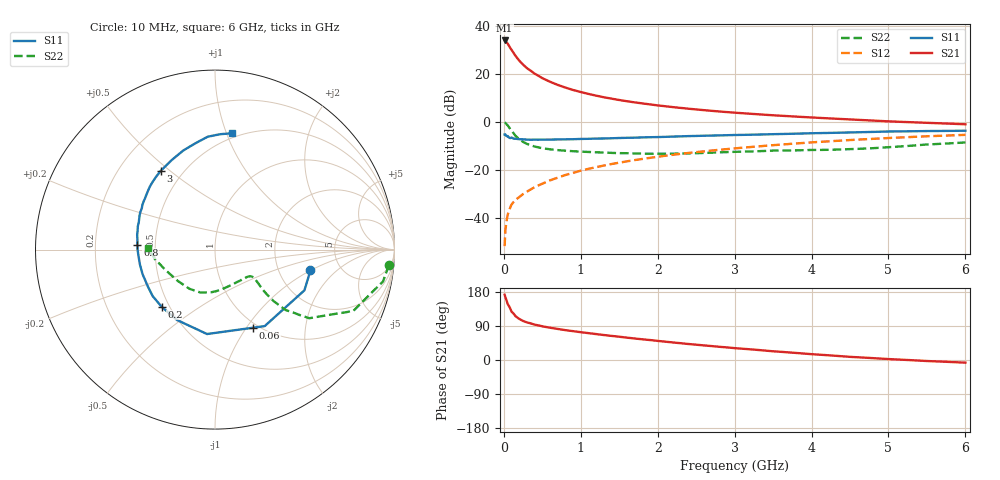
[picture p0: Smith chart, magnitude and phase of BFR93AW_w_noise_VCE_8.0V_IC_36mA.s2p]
! Infineon Technologies  Discrete & RF Semiconductors
! BFR93AW
! VCE =  8.0 V,  IC =  36 mA
! Common Emitter S-Parameters:  Jan 2017
# GHz  S  MA  R  50
!  f  S11  S21  S12  S22
! GHz  MAG  ANG  MAG  ANG  MAG  ANG  MAG  ANG
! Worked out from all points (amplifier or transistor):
!   77 points, 10 MHz to 6 GHz, reference 50 ohm
!   highest |S21| = 33.9 dB at 10 MHz (marker M1)
!   |S21| within 3 dB of that: start of sweep to 81.59 MHz
!   unconditionally stable (mu >= 1): 560.1 MHz to 2.046 GHz
!   at 130 MHz: K = 0.54, MSG = 30.9 dB, |S12| = -33.2 dB
!   at 2.2 GHz: K = 0.99, MSG = 9.9 dB, |S12| = -13.7 dB
!   at 6 GHz: K = 0.87, MSG = 2.2 dB, |S12| = -5.4 dB
!   lowest NFmin = 1.95 dB at 450 MHz
!   S11 on the Smith chart (normalised r, x): 10 MHz: 3.03, -1.00; 60 MHz: 0.95, -1.07; 200 MHz: 0.45, -0.36; 800 MHz: 0.40, +0.03; 3 GHz: 0.38, +0.46; 6 GHz: 0.46, +1.04
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0.01  0.5445 -12.3  49.27 172.3  0.0026 76.5  0.9724 -5.1
0.02  0.5474 -24.5  48.55 165.8  0.0055 78.7  0.953 -10.7
0.05  0.5083 -57.0  42.3 147.7  0.0117 68.3  0.8431 -23.9
0.06  0.4843 -64.0  39.8 144.6  0.0132 66.6  0.8019 -25.9
0.1  0.4725 -95.4  31.39 127.6  0.0191 62.5  0.6492 -36.1
0.15  0.4458 -118.4  23.75 115.9  0.0236 60.1  0.5162 -40.6
0.2  0.4356 -133.1  18.79 108.4  0.0273 60.9  0.4352 -41.3
0.25  0.4333 -143.3  15.49 103.0  0.0315 61.5  0.3834 -40.8
0.3  0.4271 -150.9  13.09 99.2  0.0353 63.6  0.3477 -40.0
0.4  0.4261 -161.4  10.05 93.3  0.0438 65.8  0.3068 -38.0
0.5  0.4264 -168.6  8.11 88.9  0.0517 68.2  0.2832 -36.8
0.6  0.4274 -174.6  6.819 85.2  0.0607 69.2  0.2685 -36.2
0.7  0.4308 -179.3  5.871 82.0  0.0691 70.4  0.2586 -36.0
0.8  0.4335 176.6  5.164 78.8  0.0785 70.7  0.2511 -36.5
1.1  0.4438 166.2  3.809 70.9  0.1056 70.5  0.2366 -39.9
1.5  0.4615 155.6  2.847 61.4  0.1417 68.8  0.2237 -48.1
2.1  0.4881 141.8  2.111 48.4  0.1973 64.8  0.2172 -65.9
3  0.5328 124.6  1.552 31.3  0.2807 57.2  0.238 -94.6
3.1  0.536 122.8  1.513 29.8  0.2899 56.2  0.2397 -97.5
4.1  0.5834 106.3  1.21 14.1  0.3828 46.2  0.2608 -126.5
5.1  0.6324 92.4  1.01 1.5  0.4688 35.3  0.3038 -160.1
6  0.6541 81.9  0.891 -7.0  0.537 25.3  0.3732 178.4
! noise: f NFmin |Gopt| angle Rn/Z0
0.45  1.95  0.21  178  0.16
0.9  2.22  0.28  -172  0.17
1.9  3.28  0.52  -134  0.32
2.4  3.96  0.56  -123  0.61
